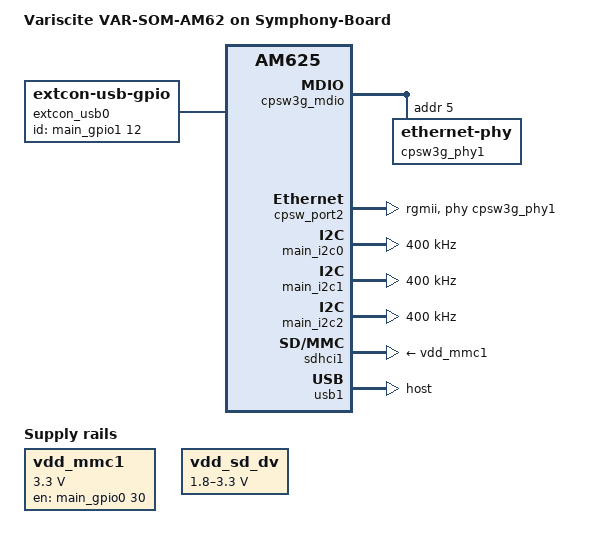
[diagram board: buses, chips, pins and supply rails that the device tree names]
// SPDX-License-Identifier: GPL-2.0
/*
 * VAR-SOM-AM62
 *
 * Copyright (C) 2021-2022 Texas Instruments Incorporated - https://www.ti.com/
 * Copyright (C) 2023 Variscite Ltd. - https://www.variscite.com/
 */

/dts-v1/;

#include "k3-am625-var-som.dtsi"

/ {
	compatible =  "ti,am625-sk", "ti,am625";
	model = "Variscite VAR-SOM-AM62 on Symphony-Board";


	chosen {
		stdout-path = "serial2:115200n8";
		bootargs = "console=ttyS2,115200n8 earlycon=ns16550a,mmio32,0x02800000";
	};

	extcon_usb0: extcon-usb0 {
		compatible = "linux,extcon-usb-gpio";
		id-gpios = <&main_gpio1 12 GPIO_ACTIVE_HIGH>;
		pinctrl-names = "default";
		pinctrl-0 = <&extcon_usb0_gpio_id_pins_default>;
	};

	vdd_mmc1: regulator-3 {
		compatible = "regulator-fixed";
		regulator-name = "SD_power_en";
		pinctrl-names = "default";
		pinctrl-0 = <&vdd_mmc1_pins_default>;
		regulator-min-microvolt = <3300000>;
		regulator-max-microvolt = <3300000>;
		regulator-boot-on;
		enable-active-high;
		gpio = <&main_gpio0 30 GPIO_ACTIVE_HIGH>;
	};

	vdd_sd_dv: gpio-regulator-4 {
		compatible = "regulator-gpio";
		regulator-name = "SD_voltage_sel";
		pinctrl-names = "default";
		pinctrl-0 = <&vdd_sd_dv_pins_default>;
		regulator-min-microvolt = <1800000>;
		regulator-max-microvolt = <3300000>;
		regulator-boot-on;
		gpios = <&main_gpio0 56 GPIO_ACTIVE_HIGH>;
		states = <1800000 0x0>,
			 <3300000 0x1>;
	};
};

&cpsw3g_mdio {
	cpsw3g_phy1: ethernet-phy@5 {
		reg = <5>;
	};
};

&cpsw_port2 {
	phy-mode = "rgmii";
	phy-handle = <&cpsw3g_phy1>;
};

&main_i2c0 {
	pinctrl-names = "default";
	pinctrl-0 = <&main_i2c0_pins_default>;
	clock-frequency = <400000>;
};

&main_i2c1 {
	pinctrl-names = "default";
	pinctrl-0 = <&main_i2c1_pins_default>;
	clock-frequency = <400000>;
};

&main_i2c2 {
	pinctrl-names = "default";
	pinctrl-0 = <&main_i2c2_pins_default>;
	clock-frequency = <400000>;
};

&main_pmx0 {
	main_i2c0_pins_default: main-i2c0-pins-default {
		pinctrl-single,pins = <
			AM62X_IOPAD(0x1e0, PIN_INPUT_PULLUP, 0) /* (B16) I2C0_SCL */
			AM62X_IOPAD(0x1e4, PIN_INPUT_PULLUP, 0) /* (A16) I2C0_SDA */
		>;
	};

	main_i2c1_pins_default: main-i2c1-pins-default {
		pinctrl-single,pins = <
			AM62X_IOPAD(0x1e8, PIN_INPUT_PULLUP, 0) /* (B17) I2C1_SCL */
			AM62X_IOPAD(0x1ec, PIN_INPUT_PULLUP, 0) /* (A17) I2C1_SDA */
		>;
	};

	main_i2c2_pins_default: main-i2c2-pins-default {
		pinctrl-single,pins = <
			AM62X_IOPAD(0x0b0, PIN_INPUT_PULLUP, 1) /* (K22) GPMC0_CSn2.I2C2_SCL */
			AM62X_IOPAD(0x0b4, PIN_INPUT_PULLUP, 1) /* (K24) GPMC0_CSn3.I2C2_SDA */
		>;
	};

	main_mmc1_pins_default: main-mmc1-pins-default {
		pinctrl-single,pins = <
			AM62X_IOPAD(0x23c, PIN_INPUT, 0) /* (A21) MMC1_CMD */
			AM62X_IOPAD(0x234, PIN_INPUT, 0) /* (B22) MMC1_CLK */
			AM62X_IOPAD(0x230, PIN_INPUT, 0) /* (A22) MMC1_DAT0 */
			AM62X_IOPAD(0x22c, PIN_INPUT, 0) /* (B21) MMC1_DAT1 */
			AM62X_IOPAD(0x228, PIN_INPUT, 0) /* (C21) MMC1_DAT2 */
			AM62X_IOPAD(0x224, PIN_INPUT, 0) /* (D22) MMC1_DAT3 */
			AM62X_IOPAD(0x240, PIN_INPUT, 0) /* (D17) MMC1_SDCD */
		>;
	};

	main_uart0_pins_default: main-uart0-pins-default {
		pinctrl-single,pins = <
			AM62X_IOPAD(0x1c8, PIN_INPUT, 0) /* (D14) UART0_RXD */
			AM62X_IOPAD(0x1cc, PIN_OUTPUT, 0) /* (E14) UART0_TXD */
		>;
	};

	extcon_usb0_gpio_id_pins_default: extcon-usb0-gpio-id-pins-default {
		pinctrl-single,pins = <
			AM62X_IOPAD(0x01a8, PIN_INPUT, 7) /* (D20) MCASP0_AFSX.GPIO1_12 */
		>;
	};

	main_usb1_pins_default: main-usb1-pins-default {
		pinctrl-single,pins = <
			AM62X_IOPAD(0x0258, PIN_OUTPUT, 0) /* (F18) USB1_DRVVBUS */
		>;
	};

	vdd_mmc1_pins_default: vdd-mmc1-pins-default {
		pinctrl-single,pins = <
			AM62X_IOPAD(0x0078, PIN_OUTPUT, 7) /* (U24) GPMC0_AD15.GPIO0_30 */
		>;
	};

	vdd_sd_dv_pins_default: vdd-sd-dv-pins-default {
		pinctrl-single,pins = <
			AM62X_IOPAD(0x00e4, PIN_OUTPUT, 7) /* (AA23) VOUT0_DATA11.GPIO0_56 */
		>;
	};
};

&main_uart0 {
	pinctrl-names = "default";
	pinctrl-0 = <&main_uart0_pins_default>;
};

&main_uart1 {
	/* Main UART1 is used by TIFS firmware */
	status = "reserved";
};

&mcu_i2c0 {
	status = "disabled";
};

&mcu_uart0 {
	status = "disabled";
};

/* SD card */
&sdhci1 {
	vmmc-supply = <&vdd_mmc1>;
	vqmmc-supply = <&vdd_sd_dv>;
	pinctrl-names = "default";
	pinctrl-0 = <&main_mmc1_pins_default>;
	ti,driver-strength-ohm = <50>;
	disable-wp;
};

&usb0 {
	extcon = <&extcon_usb0>;
};

&usb1 {
	dr_mode = "host";
	pinctrl-names = "default";
	pinctrl-0 = <&main_usb1_pins_default>;
};

&usbss0 {
	ti,vbus-divider;
};

&wkup_i2c0 {
	status = "disabled";
};

&wkup_uart0 {
	/* WKUP UART0 is used by DM firmware */
	status = "reserved";
};
